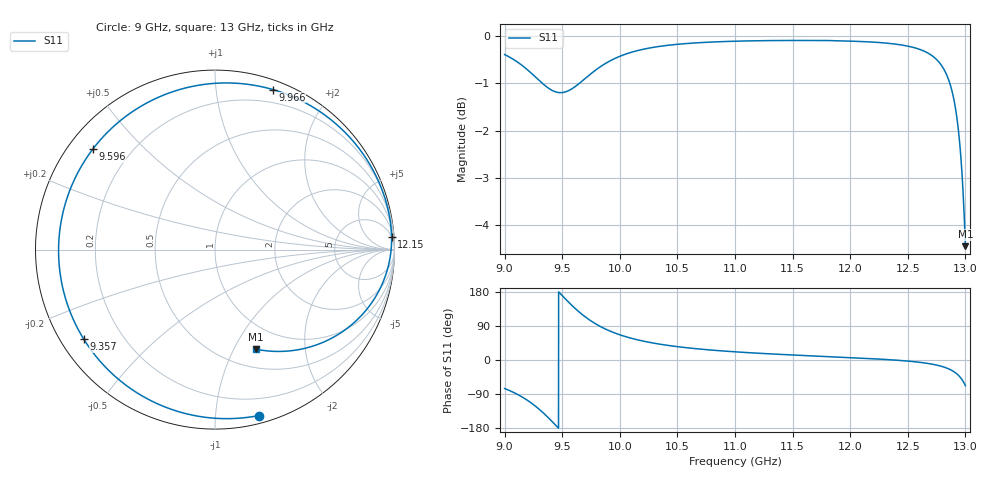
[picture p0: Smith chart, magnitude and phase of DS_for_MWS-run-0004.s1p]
! TOUCHSTONE file generated by CST DESIGN STUDIO
! Date and time: Tue Feb  4 17:52:48 2025
! Project name: C:\Work\MatlabApps\UnitCellOptimizationMatlab\CST\unitcell.cst
! Tree item: Tasks\Sweep1\SPara1\S-Parameters
! Header version: 2024
! Port assignment regex: !\s*Touchstone port\s*([0-9]+)\s*=\s*(CST MWS port|CST DES external port|CST DES block port)\s*(.+)\s* \(\"(.*)\"\)(\s*mode\s*([0-9]+))?.*
! Touchstone port assignment:
! Touchstone port 1 = CST DES external port 1 ("")
# GHz S MA R 50
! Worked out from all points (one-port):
!   4001 points, 9 GHz to 13 GHz, reference 50 ohm
!   lowest |S11| = -4.4 dB at 13 GHz (marker M1), VSWR 3.99, Z = 35.4 - j61.2 ohm
!   |S11| at or under -10 dB: nowhere
!   S11 on the Smith chart (normalised r, x): 9 GHz: 0.06, -1.29; 9.357 GHz: 0.07, -0.31; 9.596 GHz: 0.07, +0.36; 9.966 GHz: 0.08, +1.42; 12.15 GHz: 5, +27; 13 GHz: 0.71, -1.22
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9  0.9562 -75.3
9.115  0.9382 -91.3
9.203  0.9202 -107.4
9.281  0.9021 -125.1
9.357  0.8853 -145.6
9.431  0.874 -168.2
9.5  0.8715 169.9
9.546  0.8745 155.5
9.596  0.8814 140.6
9.672  0.8961 120.4
9.752  0.913 102.7
9.845  0.9306 86.2
9.966  0.9482 70.2
10  0.9521 66.5
10.102  0.9617 57.2
10.216  0.9693 49.0
10.5  0.9804 35.2
11  0.9878 21.6
11.5  0.9896 13.2
12  0.988 6.3
12.15  0.9864 4.1
12.5  0.976 -2.9
12.704  0.9548 -10.6
12.85  0.9021 -22.8
12.893  0.8651 -29.4
12.929  0.8148 -37.4
12.968  0.7233 -50.5
13  0.5991 -67.8
